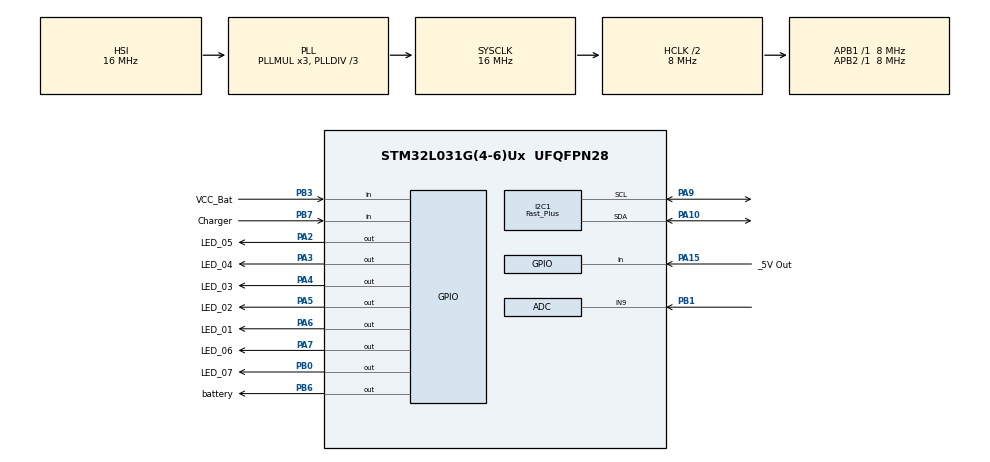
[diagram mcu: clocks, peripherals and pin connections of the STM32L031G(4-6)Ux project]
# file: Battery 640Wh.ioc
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FREERTOS.Tasks01=defaultTask,0,128,StartDefaultTask,Default,NULL,Dynamic,NULL,NULL;LED,0,128,StartLED,Default,NULL,Dynamic,NULL,NULL;Button,-3,128,StartButton,Default,NULL,Dynamic,NULL,NULL;INA220,-3,128,StartINA220,Default,NULL,Dynamic,NULL,NULL
FREERTOS.configUSE_NEWLIB_REENTRANT=1
I2C1.I2C_Speed_Mode=I2C_Fast_Plus
I2C1.Timing=0x00000001
Mcu.Family=STM32L0
Mcu.Name=STM32L031G(4-6)Ux
Mcu.Package=UFQFPN28
NVIC.TIM21_IRQn=true\:3\:0\:false\:false\:true\:true\:true\:true\:true
NVIC.TIM2_IRQn=true\:3\:0\:false\:false\:true\:true\:true\:true\:true
PA10.Mode=I2C
PA10.Signal=I2C1_SDA
PA13.Mode=Serial_Wire
PA13.Signal=SYS_SWDIO
PA14.Mode=Serial_Wire
PA14.Signal=SYS_SWCLK
PA15.GPIO_Label=_5V Out
PA15.Signal=GPIO_Input
PA2.GPIO_Label=LED_05
PA2.Signal=GPIO_Output
PA3.GPIO_Label=LED_04
PA3.Signal=GPIO_Output
PA4.GPIO_Label=LED_03
PA4.Signal=GPIO_Output
PA5.GPIO_Label=LED_02
PA5.Signal=GPIO_Output
PA6.GPIO_Label=LED_01
PA6.Signal=GPIO_Output
PA7.GPIO_Label=LED_06
PA7.Signal=GPIO_Output
PA9.Mode=I2C
PA9.Signal=I2C1_SCL
PB0.GPIO_Label=LED_07
PB0.Signal=GPIO_Output
PB1.Mode=IN9
PB1.Signal=ADC_IN9
PB3.GPIO_Label=VCC_Bat
PB3.Signal=GPIO_Input
PB6.GPIO_Label=battery
PB6.Signal=GPIO_Output
PB7.GPIO_Label=Charger
PB7.Signal=GPIO_Input
ProjectManager.HeapSize=0x200
ProjectManager.StackSize=0x400
ProjectManager.TargetToolchain=STM32CubeIDE
RCC.AHBCLKDivider=RCC_SYSCLK_DIV2
RCC.AHBFreq_Value=8000000
RCC.APB1Freq_Value=8000000
RCC.APB1TimFreq_Value=8000000
RCC.APB2Freq_Value=8000000
RCC.APB2TimFreq_Value=8000000
RCC.HCLKFreq_Value=8000000
RCC.HSE_VALUE=8000000
RCC.HSI16_VALUE=16000000
RCC.HSI_VALUE=16000000
RCC.LSE_VALUE=32768
RCC.Lpuart1ClockSelection=RCC_LPUART1CLKSOURCE_SYSCLK
RCC.MSI_VALUE=2097000
RCC.PLLDIV=RCC_PLLDIV_3
RCC.SYSCLKFreq_VALUE=16000000
RCC.SYSCLKSource=RCC_SYSCLKSOURCE_PLLCLK
RCC.VCOOutputFreq_Value=48000000
TIM2.Period=10
TIM2.Prescaler=8000-1
TIM21.Period=60000
TIM21.Prescaler=8000-1
VP_FREERTOS_VS_CMSIS_V1.Mode=CMSIS_V1
VP_TIM21_VS_ClockSourceINT.Mode=Internal
VP_TIM2_VS_ClockSourceINT.Mode=Internal
board=custom

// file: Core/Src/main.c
/* USER CODE BEGIN Header */
/**
  ******************************************************************************
  * @file           : main.c
  * @brief          : Main program body
  ******************************************************************************
  * @attention
  *
  * Copyright (c) 2023 STMicroelectronics.
  * All rights reserved.
  *
  * This software is licensed under terms that can be found in the LICENSE file
  * in the root directory of this software component.
  * If no LICENSE file comes with this software, it is provided AS-IS.
  *
  ******************************************************************************
  */
/* USER CODE END Header */
#include "main.h"
#include "cmsis_os.h"

/* USER CODE BEGIN Includes */
#include <stdio.h>
/* USER CODE END Includes */

/* USER CODE BEGIN PD */

#define	INA219_REG_BUSVOLTAGE					(0x02)
#define	INA219_REG_SHUNTVOLTAGE					(0x01)
#define	INA219_CONFIG				        	(0x00)

#define INA220_ADDR 		0x008A

#define DATA_EEPROM_BASE_ADDR ((uint32_t)0x08080000) /* Data EEPROM base address */

#define DATA_EEPROM_END_ADDR ((uint32_t)0x080803FF) /* Data EEPROM end address */

#define CONFIG ((Eeprom_registers *) DATA_EEPROM_BASE_ADDR)

#define Charging_TABLE_SIZE 51

/* USER CODE END PD */

ADC_HandleTypeDef hadc;

I2C_HandleTypeDef hi2c1;

TIM_HandleTypeDef htim2;
TIM_HandleTypeDef htim21;

osThreadId defaultTaskHandle;
osThreadId LEDHandle;
osThreadId ButtonHandle;
osThreadId INA220Handle;
/* USER CODE BEGIN PV */
uint8_t ButtonState = 0;

uint8_t bus_reg[2] = {0x01,0x01};
uint8_t bus_reg_2[2] = {0x02,0x02};
uint8_t bus_voltage_data[2];
uint16_t bus_voltage = 0;
float bus_voltag_f = 0;

uint8_t shunt_voltage_data[2];
uint16_t shunt_voltage = 0;

uint32_t Eeprom_data1 = 0;
uint32_t data_to_write = 0;

uint32_t addr = 0;

uint16_t CurrentDraw = 0;

uint8_t status_charger = 0;

uint8_t soc = 0; // Percentage of battery left

uint8_t Saved = 0;

uint8_t updatedValues = 0;

uint8_t setInitialCapacity = 0;

uint8_t ChargerState = 0;

float ampereHour = 0;
float batteryCap = 12500 * 4;  // Total Capacity of the Battery in mA * 4 for 640W model

uint16_t Real_capacity=0;

const int _Charger_lookup_table[Charging_TABLE_SIZE][2] = {
    {10269, 80},
    {10699, 330},
    {10883, 580},
    {10957, 830},
    {10994, 1080},
    {11028, 1330},
    {11072, 1580},
    {11127, 1830},
    {11188, 2080},
    {11249, 2330},
    {11307, 2580},
    {11360, 2830},
    {11406, 3080},
    {11448, 3330},
    {11488, 3580},
    {11527, 3830},
    {11567, 4080},
    {11610, 4330},
    {11657, 4580},
    {11707, 4830},
    {11760, 5080},
    {11816, 5330},
    {11872, 5580},
    {11928, 5830},
    {11983, 6080},
    {12036, 6330},
    {12087, 6580},
    {12136, 6830},
    {12183, 7080},
    {12229, 7330},
    {12275, 7580},
    {12319, 7830},
    {12363, 8080},
    {12406, 8330},
    {12447, 8580},
    {12486, 8830},
    {12521, 9080},
    {12551, 9330},
    {12575, 9580},
    {12594, 9830},
    {12606, 10080},
    {12613, 10330},
    {12616, 10580},
    {12617, 10830},
    {12617, 11080},
    {12619, 11330},
    {12623, 11580},
    {12628, 11830},
    {12634, 12080},
    {12637, 12330},
    {12637, 12500},
};

/* USER CODE END PV */

void SystemClock_Config(void);
static void MX_GPIO_Init(void);
static void MX_I2C1_Init(void);
static void MX_TIM2_Init(void);
static void MX_TIM21_Init(void);
static void MX_ADC_Init(void);
void StartDefaultTask(void const * argument);
void StartLED(void const * argument);
void StartButton(void const * argument);
void StartINA220(void const * argument);

/* USER CODE BEGIN 0 */

uint16_t lookup(uint16_t input_value) {
    uint8_t i;
    uint16_t min_diff = UINT16_MAX;
    uint16_t output_value = 0;

    // Search for the closest matching value in the table
    for (i = 0; i < Charging_TABLE_SIZE; i++) {
        uint16_t diff = abs(input_value - _Charger_lookup_table[i][0]);
        if (diff < min_diff) {
            min_diff = diff;
            output_value = _Charger_lookup_table[i][1];
        }
    }

    return output_value * 4 ; // 4 times more capacity
}

void clear_indicator_leds()
{
	HAL_GPIO_WritePin(LED_01_GPIO_Port, LED_01_Pin, GPIO_PIN_RESET);
	HAL_GPIO_WritePin(LED_02_GPIO_Port, LED_02_Pin, GPIO_PIN_RESET);
	HAL_GPIO_WritePin(LED_03_GPIO_Port, LED_03_Pin, GPIO_PIN_RESET);
	HAL_GPIO_WritePin(LED_04_GPIO_Port, LED_04_Pin, GPIO_PIN_RESET);
	HAL_GPIO_WritePin(LED_05_GPIO_Port, LED_05_Pin, GPIO_PIN_RESET);
	HAL_GPIO_WritePin(LED_06_GPIO_Port, LED_06_Pin, GPIO_PIN_RESET);

}
void DisplayLevel()

{
		if(soc <= 10)	// 1000mV
		{
			HAL_GPIO_WritePin(LED_01_GPIO_Port, LED_01_Pin, GPIO_PIN_RESET);
			HAL_GPIO_WritePin(LED_02_GPIO_Port, LED_02_Pin, GPIO_PIN_RESET);
			HAL_GPIO_WritePin(LED_03_GPIO_Port, LED_03_Pin, GPIO_PIN_RESET);
			HAL_GPIO_WritePin(LED_04_GPIO_Port, LED_04_Pin, GPIO_PIN_RESET);
			HAL_GPIO_WritePin(LED_05_GPIO_Port, LED_05_Pin, GPIO_PIN_RESET);
			for(int i = 0; i < 10; i++)

			{
				HAL_GPIO_TogglePin(LED_01_GPIO_Port, LED_01_Pin);
				HAL_Delay(200);

			}
		}

		else if(soc > 10 && soc <= 20 )
		{
			HAL_GPIO_WritePin(LED_01_GPIO_Port, LED_01_Pin, GPIO_PIN_SET);
			HAL_GPIO_WritePin(LED_02_GPIO_Port, LED_02_Pin, GPIO_PIN_RESET);
			HAL_GPIO_WritePin(LED_03_GPIO_Port, LED_03_Pin, GPIO_PIN_RESET);
			HAL_GPIO_WritePin(LED_04_GPIO_Port, LED_04_Pin, GPIO_PIN_RESET);
			HAL_GPIO_WritePin(LED_05_GPIO_Port, LED_05_Pin, GPIO_PIN_RESET);

		}

		else if(soc > 20 && soc <= 40 )
		{
			HAL_GPIO_WritePin(LED_01_GPIO_Port, LED_01_Pin, GPIO_PIN_SET);
			HAL_GPIO_WritePin(LED_02_GPIO_Port, LED_02_Pin, GPIO_PIN_SET);
			HAL_GPIO_WritePin(LED_03_GPIO_Port, LED_03_Pin, GPIO_PIN_RESET);
			HAL_GPIO_WritePin(LED_04_GPIO_Port, LED_04_Pin, GPIO_PIN_RESET);
			HAL_GPIO_WritePin(LED_05_GPIO_Port, LED_05_Pin, GPIO_PIN_RESET);

		}

		else if(soc > 40 && soc <= 60 )
		{
			HAL_GPIO_WritePin(LED_01_GPIO_Port, LED_01_Pin, GPIO_PIN_SET);
			HAL_GPIO_WritePin(LED_02_GPIO_Port, LED_02_Pin, GPIO_PIN_SET);
			HAL_GPIO_WritePin(LED_03_GPIO_Port, LED_03_Pin, GPIO_PIN_SET);
			HAL_GPIO_WritePin(LED_04_GPIO_Port, LED_04_Pin, GPIO_PIN_RESET);
			HAL_GPIO_WritePin(LED_05_GPIO_Port, LED_05_Pin, GPIO_PIN_RESET);

		}

		else if (soc > 60 && soc <= 80)
		{
			HAL_GPIO_WritePin(LED_01_GPIO_Port, LED_01_Pin, GPIO_PIN_SET);
			HAL_GPIO_WritePin(LED_02_GPIO_Port, LED_02_Pin, GPIO_PIN_SET);
			HAL_GPIO_WritePin(LED_03_GPIO_Port, LED_03_Pin, GPIO_PIN_SET);
			HAL_GPIO_WritePin(LED_04_GPIO_Port, LED_04_Pin, GPIO_PIN_SET);
			HAL_GPIO_WritePin(LED_05_GPIO_Port, LED_05_Pin, GPIO_PIN_RESET);

		}

		else if (soc > 80)
		{
			HAL_GPIO_WritePin(LED_01_GPIO_Port, LED_01_Pin, GPIO_PIN_SET);
			HAL_GPIO_WritePin(LED_02_GPIO_Port, LED_02_Pin, GPIO_PIN_SET);
			HAL_GPIO_WritePin(LED_03_GPIO_Port, LED_03_Pin, GPIO_PIN_SET);
			HAL_GPIO_WritePin(LED_04_GPIO_Port, LED_04_Pin, GPIO_PIN_SET);
			HAL_GPIO_WritePin(LED_05_GPIO_Port, LED_05_Pin, GPIO_PIN_SET);

		}

	osDelay(3000);
	clear_indicator_leds();

}
void set_indicator_leds_blink()

{

	if(soc <= 20)	// 1000mV
	{
		HAL_GPIO_TogglePin(LED_01_GPIO_Port, LED_01_Pin);
		HAL_Delay(200);

	}

	else if(soc > 20 && soc <= 40 )
	{
		HAL_GPIO_WritePin(LED_01_GPIO_Port, LED_01_Pin, GPIO_PIN_SET);
		HAL_GPIO_TogglePin(LED_02_GPIO_Port, LED_02_Pin);
		HAL_Delay(200);

	}

	else if(soc > 40 && soc <= 60 )
	{

		HAL_GPIO_WritePin(LED_01_GPIO_Port, LED_01_Pin, GPIO_PIN_SET);
		HAL_GPIO_WritePin(LED_02_GPIO_Port, LED_02_Pin, GPIO_PIN_SET);
		HAL_GPIO_TogglePin(LED_03_GPIO_Port, LED_03_Pin);
		HAL_Delay(200);

	}

	else if (soc > 60 && soc <= 80)
	{
		HAL_GPIO_WritePin(LED_01_GPIO_Port, LED_01_Pin, GPIO_PIN_SET);
		HAL_GPIO_WritePin(LED_02_GPIO_Port, LED_02_Pin, GPIO_PIN_SET);
		HAL_GPIO_WritePin(LED_03_GPIO_Port, LED_03_Pin, GPIO_PIN_SET);
		HAL_GPIO_TogglePin(LED_04_GPIO_Port, LED_04_Pin);
		HAL_Delay(200);

	}

	else if (soc > 80)
	{
		HAL_GPIO_WritePin(LED_01_GPIO_Port, LED_01_Pin, GPIO_PIN_SET);
		HAL_GPIO_WritePin(LED_02_GPIO_Port, LED_02_Pin, GPIO_PIN_SET);
		HAL_GPIO_WritePin(LED_03_GPIO_Port, LED_03_Pin, GPIO_PIN_SET);
		HAL_GPIO_WritePin(LED_04_GPIO_Port, LED_04_Pin, GPIO_PIN_SET);
		HAL_GPIO_TogglePin(LED_05_GPIO_Port, LED_05_Pin);
		HAL_Delay(200);

	}

}
void UnlockEeprom(void)

{

   while ((FLASH->SR & FLASH_SR_BSY) != 0) /* Wait for FLASH to be free */

   {

/*   insert timeout test */

   }

   if ((FLASH->PECR & FLASH_PECR_PELOCK) != 0) /* If PELOCK is locked */

   {

      FLASH->PEKEYR = FLASH_PEKEY1; /* Unlock PELOCK */

      FLASH->PEKEYR = FLASH_PEKEY2;

   }
   FLASH->PECR = FLASH->PECR | (FLASH_PECR_ERRIE | FLASH_PECR_EOPIE); /* enable flash interrupts */

}
/**
* Brief This function programs a word of data EEPROM.

* The ERASE bit and DATA bit are cleared in PECR at the beginning

* words are automatically erased if required before programming

* Param addr is the 32-bit EEPROM address to program, data is the 32 bit word to program

* Retval None
*/

void EepromProgram(uint32_t addr, uint32_t ee_data)

{

/* NOTE: The EEPROM must be unlocked and the flash interrupts must have been enabled prior to calling this function.*/

   *(uint32_t *)(addr) = ee_data; /* write data to EEPROM */

   __WFI();

   if (*(uint32_t *)(addr) != ee_data)

   {

      //error |= ERROR_PROG_32B_WORD;

   }
}
/* Lock the EEPROM: */
void LockEeprom(void)

{

   while ((FLASH->SR & FLASH_SR_BSY) != 0) /* Wait for FLASH to be free */

   {

/*   insert timeout test */

   }

   FLASH->PECR = FLASH->PECR & ~(FLASH_PECR_ERRIE | FLASH_PECR_EOPIE); /* disable flash interrupts */

   FLASH->PECR = FLASH->PECR | FLASH_PECR_PELOCK; /* Lock memory with PELOCK */

}

void Write_Registers_to_Eeprom(void)
{
uint32_t i;

uint32_t* p_tFlashRegs;
   i = 0;
   p_tFlashRegs = (uint32_t*)&data_to_write;   /* Point to data to write */

   UnlockEeprom(); /* Unlock the EEPROM and enable flash interrupts */

   FLASH->PECR = FLASH->PECR & ~(FLASH_PECR_ERASE | FLASH_PECR_DATA); /* Reset the ERASE and DATA bits in the FLASH_PECR register to disable any residual erase */
   /* Put the next line in a loop if sequential bits to be written with i as loop counter */
   EepromProgram(DATA_EEPROM_BASE_ADDR + (4 * i), *(p_tFlashRegs + i)); /* Increase eeprom address by 4 for each word to write.  */
   LockEeprom(); /* Lock the EEPROM */

}

void Write16(uint8_t Register, uint16_t Value)
{
	uint8_t addr[2];
	addr[0] = (Value >> 8) & 0xff;  // upper byte
	addr[1] = (Value >> 0) & 0xff; // lower byte

	HAL_I2C_Mem_Write(&hi2c1, INA220_ADDR, Register, 1, (uint8_t*)addr, 2, 1000);
}
void ResetINA()
{
	uint8_t addr[2];
	addr[0] = 0xB9;  // upper byte
	addr[1] = 0x9F; // lower byte
	HAL_I2C_Mem_Write(&hi2c1, INA220_ADDR, INA219_CONFIG, 1, addr, 2, 1000);
	HAL_Delay(1);
}

uint16_t Read16(uint8_t Register)
{
	uint8_t Value[2];

	HAL_I2C_Mem_Read(&hi2c1, INA220_ADDR, Register, 1, Value, 2, 1000);

	return ((Value[0] << 8) | Value[1]);
}

uint16_t INA219_ReadBusVoltage()
{

	uint16_t result = Read16(INA219_REG_BUSVOLTAGE);

	if(Saved == 0 && ((result >> 3  ) * 4) < 8.3){

		Saved = 1;

	}
	//return result;
	return ((result >> 3  ) * 4);

}

uint16_t INA219_ReadShuntVolage()
{
	uint16_t result = Read16(INA219_REG_SHUNTVOLTAGE);
	uint8_t signal = result >> 15;

	if (signal > 0){

		status_charger = 1;
		CurrentDraw = (~result) +1; // 2' complement

	}else {

		status_charger = 0;
		CurrentDraw  = result;
	}

	return result;
	//return (result * 0.01 ); // 0.01R Shunt
}

void Check_INA (){

		  bus_voltage =  INA219_ReadBusVoltage();
		  shunt_voltage =  INA219_ReadShuntVolage();
		  updatedValues ++;

}

test_LED(){

	HAL_GPIO_WritePin(LED_01_GPIO_Port, LED_01_Pin, GPIO_PIN_SET);
	HAL_GPIO_WritePin(LED_02_GPIO_Port, LED_02_Pin, GPIO_PIN_SET);
	HAL_GPIO_WritePin(LED_03_GPIO_Port, LED_03_Pin, GPIO_PIN_SET);
	HAL_GPIO_WritePin(LED_04_GPIO_Port, LED_04_Pin, GPIO_PIN_SET);
	HAL_GPIO_WritePin(LED_05_GPIO_Port, LED_05_Pin, GPIO_PIN_SET);
	HAL_GPIO_WritePin(LED_06_GPIO_Port, LED_06_Pin, GPIO_PIN_SET);

}

/* USER CODE END 0 */

int main(void)
{

  /* MCU Configuration--------------------------------------------------------*/

  /* Reset of all peripherals, Initializes the Flash interface and the Systick. */
  HAL_Init();

  /* Configure the system clock */
  SystemClock_Config();

  /* Initialize all configured peripherals */
  MX_GPIO_Init();
  MX_I2C1_Init();
  MX_TIM2_Init();
  MX_TIM21_Init();
  MX_ADC_Init();
  /* USER CODE BEGIN 2 */

  HAL_TIM_Base_Start_IT(&htim21);

  /* USER CODE END 2 */

  /* Create the thread(s) */
  /* definition and creation of defaultTask */
  osThreadDef(defaultTask, StartDefaultTask, osPriorityNormal, 0, 128);
  defaultTaskHandle = osThreadCreate(osThread(defaultTask), NULL);

  /* definition and creation of LED */
  osThreadDef(LED, StartLED, osPriorityNormal, 0, 128);
  LEDHandle = osThreadCreate(osThread(LED), NULL);

  /* definition and creation of Button */
  osThreadDef(Button, StartButton, osPriorityIdle, 0, 128);
  ButtonHandle = osThreadCreate(osThread(Button), NULL);

  /* definition and creation of INA220 */
  osThreadDef(INA220, StartINA220, osPriorityIdle, 0, 128);
  INA220Handle = osThreadCreate(osThread(INA220), NULL);

  /* Start scheduler */
  osKernelStart();

  /* We should never get here as control is now taken by the scheduler */
  /* Infinite loop */
  while (1)
  {

  }
}

void SystemClock_Config(void)
{
  RCC_OscInitTypeDef RCC_OscInitStruct = {0};
  RCC_ClkInitTypeDef RCC_ClkInitStruct = {0};
  RCC_PeriphCLKInitTypeDef PeriphClkInit = {0};

  /** Configure the main internal regulator output voltage
  */
  __HAL_PWR_VOLTAGESCALING_CONFIG(PWR_REGULATOR_VOLTAGE_SCALE1);

  /** Initializes the RCC Oscillators according to the specified parameters
  * in the RCC_OscInitTypeDef structure.
  */
  RCC_OscInitStruct.OscillatorType = RCC_OSCILLATORTYPE_HSI;
  RCC_OscInitStruct.HSIState = RCC_HSI_ON;
  RCC_OscInitStruct.HSICalibrationValue = RCC_HSICALIBRATION_DEFAULT;
  RCC_OscInitStruct.PLL.PLLState = RCC_PLL_ON;
  RCC_OscInitStruct.PLL.PLLSource = RCC_PLLSOURCE_HSI;
  RCC_OscInitStruct.PLL.PLLMUL = RCC_PLLMUL_3;
  RCC_OscInitStruct.PLL.PLLDIV = RCC_PLLDIV_3;
  if (HAL_RCC_OscConfig(&RCC_OscInitStruct) != HAL_OK)
  {
    Error_Handler();
  }

  /** Initializes the CPU, AHB and APB buses clocks
  */
  RCC_ClkInitStruct.ClockType = RCC_CLOCKTYPE_HCLK|RCC_CLOCKTYPE_SYSCLK
                              |RCC_CLOCKTYPE_PCLK1|RCC_CLOCKTYPE_PCLK2;
  RCC_ClkInitStruct.SYSCLKSource = RCC_SYSCLKSOURCE_PLLCLK;
  RCC_ClkInitStruct.AHBCLKDivider = RCC_SYSCLK_DIV2;
  RCC_ClkInitStruct.APB1CLKDivider = RCC_HCLK_DIV1;
  RCC_ClkInitStruct.APB2CLKDivider = RCC_HCLK_DIV1;

  if (HAL_RCC_ClockConfig(&RCC_ClkInitStruct, FLASH_LATENCY_0) != HAL_OK)
  {
    Error_Handler();
  }
  PeriphClkInit.PeriphClockSelection = RCC_PERIPHCLK_I2C1;
  PeriphClkInit.I2c1ClockSelection = RCC_I2C1CLKSOURCE_PCLK1;
  if (HAL_RCCEx_PeriphCLKConfig(&PeriphClkInit) != HAL_OK)
  {
    Error_Handler();
  }
}

static void MX_ADC_Init(void)
{

  ADC_ChannelConfTypeDef sConfig = {0};

  /** Configure the global features of the ADC (Clock, Resolution, Data Alignment and number of conversion)
  */
  hadc.Instance = ADC1;
  hadc.Init.OversamplingMode = DISABLE;
  hadc.Init.ClockPrescaler = ADC_CLOCK_SYNC_PCLK_DIV2;
  hadc.Init.Resolution = ADC_RESOLUTION_12B;
  hadc.Init.SamplingTime = ADC_SAMPLETIME_1CYCLE_5;
  hadc.Init.ScanConvMode = ADC_SCAN_DIRECTION_FORWARD;
  hadc.Init.DataAlign = ADC_DATAALIGN_RIGHT;
  hadc.Init.ContinuousConvMode = DISABLE;
  hadc.Init.DiscontinuousConvMode = DISABLE;
  hadc.Init.ExternalTrigConvEdge = ADC_EXTERNALTRIGCONVEDGE_NONE;
  hadc.Init.ExternalTrigConv = ADC_SOFTWARE_START;
  hadc.Init.DMAContinuousRequests = DISABLE;
  hadc.Init.EOCSelection = ADC_EOC_SINGLE_CONV;
  hadc.Init.Overrun = ADC_OVR_DATA_PRESERVED;
  hadc.Init.LowPowerAutoWait = DISABLE;
  hadc.Init.LowPowerFrequencyMode = DISABLE;
  hadc.Init.LowPowerAutoPowerOff = DISABLE;
  if (HAL_ADC_Init(&hadc) != HAL_OK)
  {
    Error_Handler();
  }

  /** Configure for the selected ADC regular channel to be converted.
  */
  sConfig.Channel = ADC_CHANNEL_9;
  sConfig.Rank = ADC_RANK_CHANNEL_NUMBER;
  if (HAL_ADC_ConfigChannel(&hadc, &sConfig) != HAL_OK)
  {
    Error_Handler();
  }

}

static void MX_I2C1_Init(void)
{

  hi2c1.Instance = I2C1;
  hi2c1.Init.Timing = 0x00000001;
  hi2c1.Init.OwnAddress1 = 0;
  hi2c1.Init.AddressingMode = I2C_ADDRESSINGMODE_7BIT;
  hi2c1.Init.DualAddressMode = I2C_DUALADDRESS_DISABLE;
  hi2c1.Init.OwnAddress2 = 0;
  hi2c1.Init.OwnAddress2Masks = I2C_OA2_NOMASK;
  hi2c1.Init.GeneralCallMode = I2C_GENERALCALL_DISABLE;
  hi2c1.Init.NoStretchMode = I2C_NOSTRETCH_DISABLE;
  if (HAL_I2C_Init(&hi2c1) != HAL_OK)
  {
    Error_Handler();
  }

  /** Configure Analogue filter
  */
  if (HAL_I2CEx_ConfigAnalogFilter(&hi2c1, I2C_ANALOGFILTER_ENABLE) != HAL_OK)
  {
    Error_Handler();
  }

  /** Configure Digital filter
  */
  if (HAL_I2CEx_ConfigDigitalFilter(&hi2c1, 0) != HAL_OK)
  {
    Error_Handler();
  }

  /** I2C Fast mode Plus enable
  */
  HAL_I2CEx_EnableFastModePlus(I2C_FASTMODEPLUS_I2C1);

}

static void MX_TIM2_Init(void)
{

  TIM_ClockConfigTypeDef sClockSourceConfig = {0};
  TIM_MasterConfigTypeDef sMasterConfig = {0};

  htim2.Instance = TIM2;
  htim2.Init.Prescaler = 8000-1;
  htim2.Init.CounterMode = TIM_COUNTERMODE_UP;
  htim2.Init.Period = 10;
  htim2.Init.ClockDivision = TIM_CLOCKDIVISION_DIV1;
  htim2.Init.AutoReloadPreload = TIM_AUTORELOAD_PRELOAD_DISABLE;
  if (HAL_TIM_Base_Init(&htim2) != HAL_OK)
  {
    Error_Handler();
  }
  sClockSourceConfig.ClockSource = TIM_CLOCKSOURCE_INTERNAL;
  if (HAL_TIM_ConfigClockSource(&htim2, &sClockSourceConfig) != HAL_OK)
  {
    Error_Handler();
  }
  sMasterConfig.MasterOutputTrigger = TIM_TRGO_RESET;
  sMasterConfig.MasterSlaveMode = TIM_MASTERSLAVEMODE_DISABLE;
  if (HAL_TIMEx_MasterConfigSynchronization(&htim2, &sMasterConfig) != HAL_OK)
  {
    Error_Handler();
  }

}

static void MX_TIM21_Init(void)
{

  TIM_ClockConfigTypeDef sClockSourceConfig = {0};
  TIM_MasterConfigTypeDef sMasterConfig = {0};

  htim21.Instance = TIM21;
  htim21.Init.Prescaler = 8000-1;
  htim21.Init.CounterMode = TIM_COUNTERMODE_UP;
  htim21.Init.Period = 60000;
  htim21.Init.ClockDivision = TIM_CLOCKDIVISION_DIV1;
  htim21.Init.AutoReloadPreload = TIM_AUTORELOAD_PRELOAD_DISABLE;
  if (HAL_TIM_Base_Init(&htim21) != HAL_OK)
  {
    Error_Handler();
  }
  sClockSourceConfig.ClockSource = TIM_CLOCKSOURCE_INTERNAL;
  if (HAL_TIM_ConfigClockSource(&htim21, &sClockSourceConfig) != HAL_OK)
  {
    Error_Handler();
  }
  sMasterConfig.MasterOutputTrigger = TIM_TRGO_RESET;
  sMasterConfig.MasterSlaveMode = TIM_MASTERSLAVEMODE_DISABLE;
  if (HAL_TIMEx_MasterConfigSynchronization(&htim21, &sMasterConfig) != HAL_OK)
  {
    Error_Handler();
  }

}

static void MX_GPIO_Init(void)
{
  GPIO_InitTypeDef GPIO_InitStruct = {0};

  /* GPIO Ports Clock Enable */
  __HAL_RCC_GPIOA_CLK_ENABLE();
  __HAL_RCC_GPIOB_CLK_ENABLE();

  /*Configure GPIO pin Output Level */
  HAL_GPIO_WritePin(GPIOA, LED_05_Pin|LED_04_Pin|LED_03_Pin|LED_02_Pin
                          |LED_01_Pin|LED_06_Pin, GPIO_PIN_RESET);

  /*Configure GPIO pin Output Level */
  HAL_GPIO_WritePin(GPIOB, LED_07_Pin|battery_Pin, GPIO_PIN_RESET);

  /*Configure GPIO pins : LED_05_Pin LED_04_Pin LED_03_Pin LED_02_Pin
                           LED_01_Pin LED_06_Pin */
  GPIO_InitStruct.Pin = LED_05_Pin|LED_04_Pin|LED_03_Pin|LED_02_Pin
                          |LED_01_Pin|LED_06_Pin;
  GPIO_InitStruct.Mode = GPIO_MODE_OUTPUT_PP;
  GPIO_InitStruct.Pull = GPIO_NOPULL;
  GPIO_InitStruct.Speed = GPIO_SPEED_FREQ_LOW;
  HAL_GPIO_Init(GPIOA, &GPIO_InitStruct);

  /*Configure GPIO pins : LED_07_Pin battery_Pin */
  GPIO_InitStruct.Pin = LED_07_Pin|battery_Pin;
  GPIO_InitStruct.Mode = GPIO_MODE_OUTPUT_PP;
  GPIO_InitStruct.Pull = GPIO_NOPULL;
  GPIO_InitStruct.Speed = GPIO_SPEED_FREQ_LOW;
  HAL_GPIO_Init(GPIOB, &GPIO_InitStruct);

  /*Configure GPIO pin : _5V_Out_Pin */
  GPIO_InitStruct.Pin = _5V_Out_Pin;
  GPIO_InitStruct.Mode = GPIO_MODE_INPUT;
  GPIO_InitStruct.Pull = GPIO_NOPULL;
  HAL_GPIO_Init(_5V_Out_GPIO_Port, &GPIO_InitStruct);

  /*Configure GPIO pins : VCC_Bat_Pin Charger_Pin */
  GPIO_InitStruct.Pin = VCC_Bat_Pin|Charger_Pin;
  GPIO_InitStruct.Mode = GPIO_MODE_INPUT;
  GPIO_InitStruct.Pull = GPIO_NOPULL;
  HAL_GPIO_Init(GPIOB, &GPIO_InitStruct);

}

/* USER CODE BEGIN 4 */
void HAL_TIM_PeriodElapsedCallback(TIM_HandleTypeDef *htim)
{
  if(htim->Instance == TIM2)
  {

	  if(status_charger == 1){

		  ampereHour -= (CurrentDraw * (10 / 3600000.0)); // Calculate Ah value if the battery is discharging

	  } else {

		  ampereHour += (CurrentDraw * (10 / 3600000.0)); // Calculate Ah value if the battery is charging
	  }

	  soc = (ampereHour / batteryCap) * 100; // Calculate SOC in %

  }  if(htim->Instance == TIM21)
  {

		 char str[100];

		 int CurrentInt = ampereHour;

		 sprintf (str, "Voltage = %d", bus_voltage);
		// HAL_UART_Transmit(&hlpuart1, (uint8_t *)str, strlen(str), 1);

		 sprintf (str, " Capacity  = %d", CurrentInt);

		 //HAL_UART_Transmit(&hlpuart1, (uint8_t *)str, strlen(str), 1);

		 sprintf (str, " Current = %d\n", CurrentDraw);

		// HAL_UART_Transmit(&hlpuart1, (uint8_t *)str, strlen(str), 1);
  }
  if(htim->Instance == TIM22)
  {
	  //HAL_GPIO_WritePin(LED_01_GPIO_Port, LED_01_Pin, GPIO_PIN_SET);
	  //osDelay(1);
	  //HAL_GPIO_WritePin(LED_01_GPIO_Port, LED_01_Pin, GPIO_PIN_RESET);

	  //HAL_GPIO_TogglePin(LED_01_GPIO_Port, LED_01_Pin);
  }
}

/* USER CODE END 4 */

void StartDefaultTask(void const * argument)
{
  /* USER CODE BEGIN 5 */
HAL_GPIO_WritePin(battery_GPIO_Port, battery_Pin, GPIO_PIN_SET);

//HAL_GPIO_WritePin(LED_04_GPIO_Port, LED_04_Pin, GPIO_PIN_SET);

  /* Infinite loop */
  for(;;)
  {
    osDelay(1);
  }
  /* USER CODE END 5 */
}

void StartLED(void const * argument)
{
  /* USER CODE BEGIN StartLED */

  /* Infinite loop */
  for(;;)
  {
	 // test_LED();

	  if (updatedValues > 20 && setInitialCapacity == 0 && status_charger == 0 && CurrentDraw > 200){

		  	ampereHour = lookup(bus_voltage);
		  	HAL_TIM_Base_Start_IT(&htim2);
			setInitialCapacity = 1;

	  }else if (updatedValues > 20 && status_charger == 0 && CurrentDraw < 200 && setInitialCapacity == 0){

		  	ampereHour = batteryCap;
		  	HAL_TIM_Base_Start_IT(&htim2);
			setInitialCapacity = 1;
	  }

	  if (ButtonState > 120){
		  HAL_GPIO_WritePin(LED_06_GPIO_Port, LED_06_Pin, GPIO_PIN_SET);
		  DisplayLevel();
		  clear_indicator_leds();

	  }
	  else if (status_charger == 0 && CurrentDraw < 300) {

		  osDelay(1000);

		 clear_indicator_leds();

	  }else if (status_charger == 0 && CurrentDraw > 300){
		  HAL_GPIO_WritePin(LED_06_GPIO_Port, LED_06_Pin, GPIO_PIN_SET);
		  set_indicator_leds_blink();
	  }

	  else if (status_charger == 1){
	  		  clear_indicator_leds();
	  		  //ResetINA();
	  	  }

    osDelay(1);
  }
  /* USER CODE END StartLED */
}

void StartButton(void const * argument)
{
  /* USER CODE BEGIN StartButton */
  /* Infinite loop */
  for(;;)
  {

	//ButtonState = HAL_GPIO_ReadPin(Btn_GPIO_Port, Btn_Pin);

    HAL_ADC_Start(&hadc);
    HAL_ADC_PollForConversion(&hadc, 1000);
    ButtonState = HAL_ADC_GetValue(&hadc);

    HAL_ADC_Stop(&hadc);
	ChargerState = HAL_GPIO_ReadPin(Charger_GPIO_Port, Charger_Pin);

    osDelay(1);
  }
  /* USER CODE END StartButton */
}

void StartINA220(void const * argument)
{
  /* USER CODE BEGIN StartINA220 */

  /* Infinite loop */
  for(;;)
  {
	 Check_INA();
	 Real_capacity = lookup(bus_voltage);
    osDelay(50);
  }
  /* USER CODE END StartINA220 */
}

void Error_Handler(void)
{
  __disable_irq();
  while (1)
  {
  }
}
